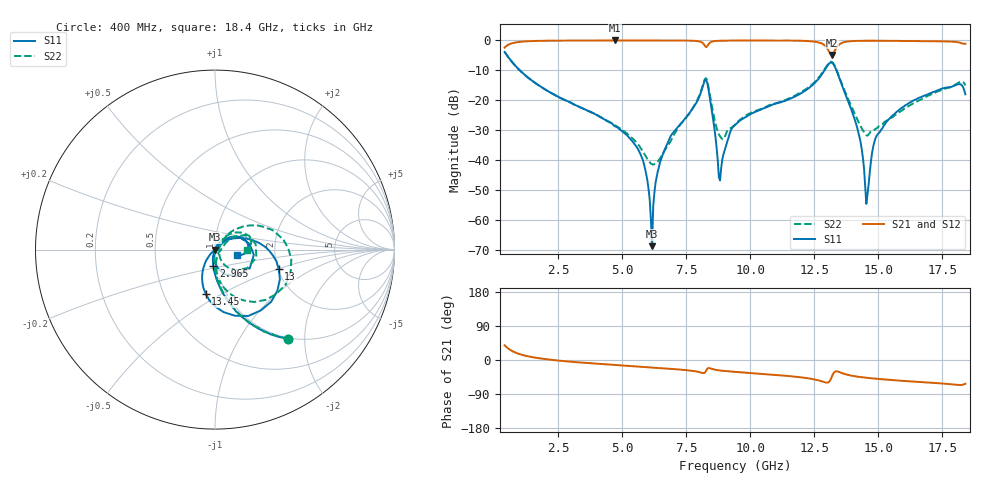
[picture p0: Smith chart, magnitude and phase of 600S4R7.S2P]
!  American Technical Ceramics  Date:  4/26/2005
!  One Norden Lane
!  Huntington Station,  NY.  11746-2102
!  Tel:  (631) 622-4700  Fax:  (631) 622-4748
!  Part Number  600S4R7  Mounting Orientation: Horizontal
!  Description: Ultra Low ESR Microwave capacitors
!  Application: Coupling, Bypass, Tuning, DC Block
!  Filters, Matching
# GHZ S DB R 50
! Freq  |S11|  S11 Ph  |S21|  S21 Ph  |S12|  S12 Ph  |S22|  S22 Ph
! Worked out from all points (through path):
!   401 points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, 400 MHz to 18.4 GHz, reference 50 ohm
!   highest |S21| = -0.01 dB at 4.72 GHz (marker M1); lowest = -4.8 dB at 13.18 GHz (marker M2)
!   group delay of S21, straight-line fit = 11.7 ps
!   lowest |S11| = -68.8 dB at 6.16 GHz (marker M3), VSWR 1.00, Z = 50 + j0.0253 ohm
!   |S11| at or under -10 dB: 992.9 MHz to 12.89 GHz (11.9 GHz wide, 171 % of centre); 13.36 GHz to end of sweep
!   |S22| runs from -41.5 to -3.8 dB; largest |S21 - S12| = 0.0077
!   S11 on the Smith chart (normalised r, x): 400 MHz: 0.98, -1.66; 2.965 GHz: 0.96, -0.18; 13 GHz: 2.02, -0.51; 13.45 GHz: 0.80, -0.42; 18.4 GHz: 1.28, -0.07
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0.4  -3.84 -50.5  -2.39 38.9  -2.39 38.8  -3.84 -50.6
1.12  -11.03 -77.0  -0.38 12.9  -0.38 12.7  -11.01 -76.7
2.965  -20.69 -96.0  -0.05 -4.5  -0.05 -4.5  -20.74 -92.2
3.415  -22.54 -98.6  -0.04 -6.9  -0.05 -7.0  -22.58 -92.7
4.72  -28.71 -104.6  -0.01 -13.3  -0.02 -13.4  -28.38 -93.9
5.71  -38.03 -111.8  -0.01 -17.9  -0.02 -18.0  -35.95 -82.1
6.16  -68.75 43.7  -0.02 -20.0  -0.02 -20.1  -41.32 -34.5
6.43  -42.30 64.5  -0.02 -21.3  -0.03 -21.3  -39.95 9.2
8.23  -13.22 -7.7  -1.88 -33.0  -1.87 -32.9  -12.82 7.8
8.41  -18.76 -78.5  -0.82 -21.6  -0.83 -21.6  -17.77 -53.1
8.815  -46.80 -3.4  -0.11 -27.7  -0.11 -27.7  -32.02 -20.2
9.4  -28.29 53.7  -0.06 -31.4  -0.07 -31.4  -28.08 42.6
12.415  -15.03 20.6  -0.33 -50.0  -0.32 -50.0  -14.64 41.4
13  -8.59 -17.2  -2.63 -59.7  -2.62 -59.7  -8.28 8.1
13.18  -7.45 -53.0  -4.82 -44.6  -4.81 -44.8  -7.14 -26.3
13.45  -11.98 -101.8  -1.55 -31.2  -1.54 -31.2  -11.73 -71.3
14.215  -30.62 -135.9  -0.14 -44.2  -0.14 -44.2  -27.10 -75.6
14.53  -54.62 -63.8  -0.10 -47.0  -0.10 -47.0  -31.68 -39.0
14.89  -32.65 41.3  -0.09 -49.2  -0.11 -49.2  -29.62 -1.3
15.43  -26.21 40.8  -0.11 -52.3  -0.12 -52.3  -26.22 20.4
17.455  -16.23 26.2  -0.30 -62.0  -0.28 -61.6  -16.59 31.1
18.4  -18.01 -12.7  -1.08 -62.6  -1.02 -62.5  -15.07 -0.1
